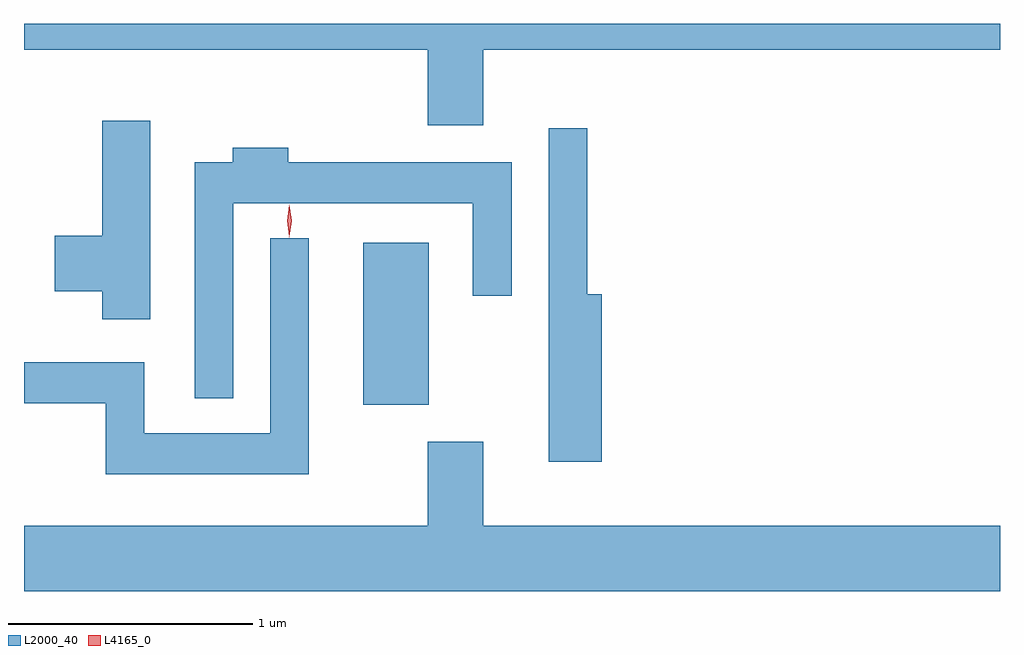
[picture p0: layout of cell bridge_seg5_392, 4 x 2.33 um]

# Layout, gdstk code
import gdstk
lib = gdstk.Library(unit=1e-6, precision=1e-09)
def R(c, l, rs):  # rectangles x0, y0, x1, y1
    for r in rs: c.add(gdstk.rectangle(r[:2], r[2:], *l))
def P(c, l, *ps):  # polygons
    for p in ps: c.add(gdstk.Polygon(p, *l))
L2000_40 = (2000, 40)
L4165_0 = (4165, 0)

bridge_seg5_392 = lib.new_cell('bridge_seg5_392')
R(bridge_seg5_392, L2000_40, [(484.246,1528.601,484.514,1529.264)])
P(bridge_seg5_392, L2000_40, [(484.739,1530.056),(486.856,1530.056),(486.856,1530.162),(482.856,1530.162),(482.856,1530.056),(484.511,1530.056),(484.511,1529.746),(484.739,1529.746)],
  [(483.374,1529.764),(483.176,1529.764),(483.176,1529.294),(482.981,1529.294),(482.981,1529.066),(483.176,1529.066),(483.176,1528.951),(483.374,1528.951)],
  [(485.224,1529.054),(485.164,1529.054),(485.164,1529.733),(485.006,1529.733),(485.006,1528.366),(485.224,1528.366)],
  [(483.714,1529.426),(484.696,1529.426),(484.696,1529.048),(484.854,1529.048),(484.854,1529.594),(483.939,1529.594),(483.939,1529.654),(483.711,1529.654),(483.711,1529.594),(483.556,1529.594),(483.556,1528.628),(483.714,1528.628)],
  [(484.024,1529.283),(483.866,1529.283),(483.866,1528.484),(483.349,1528.484),(483.349,1528.774),(482.856,1528.774),(482.856,1528.606),(483.191,1528.606),(483.191,1528.316),(484.024,1528.316)],
  [(486.856,1528.104),(484.739,1528.104),(484.739,1528.449),(484.511,1528.449),(484.511,1528.104),(482.856,1528.104),(482.856,1527.836),(486.856,1527.836)])
P(bridge_seg5_392, L4165_0, [(483.944,1529.287),(483.944,1529.288),(483.934,1529.354),(483.943,1529.42),(483.944,1529.42),(483.944,1529.42),(483.954,1529.354),(483.944,1529.288)])

lib.write_gds('bridge_seg5_392.gds')
